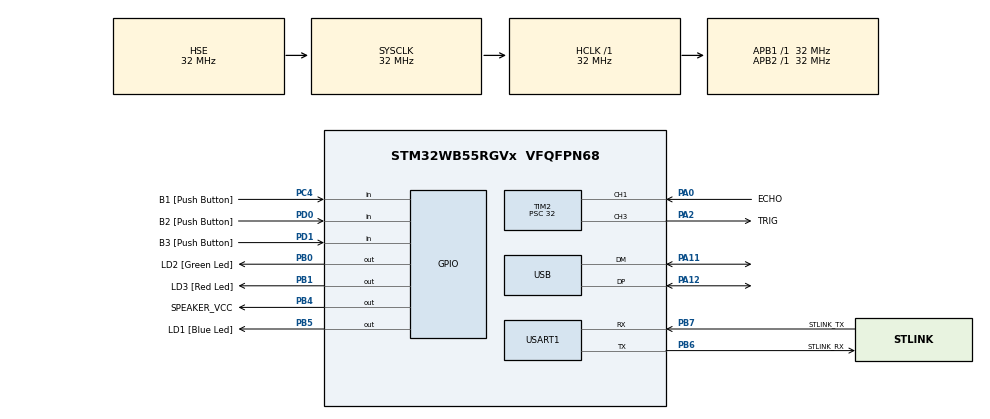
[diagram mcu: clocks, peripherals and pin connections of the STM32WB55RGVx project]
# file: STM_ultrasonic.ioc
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Mcu.Family=STM32WB
Mcu.Name=STM32WB55RGVx
Mcu.Package=VFQFPN68
NVIC.PriorityGroup=NVIC_PRIORITYGROUP_4
NVIC.TIM2_IRQn=true\:0\:0\:false\:false\:true\:true\:true\:true
OSC_IN.Mode=HSE-External-Oscillator
OSC_IN.Signal=RCC_OSC_IN
OSC_OUT.Mode=HSE-External-Oscillator
OSC_OUT.Signal=RCC_OSC_OUT
PA0.GPIO_Label=ECHO
PA0.Signal=S_TIM2_CH1
PA11.Mode=Device
PA11.Signal=USB_DM
PA12.Mode=Device
PA12.Signal=USB_DP
PA13.GPIO_Label=JTMS
PA13.Mode=Trace_Asynchronous_SW
PA13.Signal=SYS_JTMS-SWDIO
PA14.GPIO_Label=JTCK
PA14.Mode=Trace_Asynchronous_SW
PA14.Signal=SYS_JTCK-SWCLK
PA2.GPIO_Label=TRIG
PA2.Signal=S_TIM2_CH3
PB0.GPIO_Label=LD2 [Green Led]
PB0.Signal=GPIO_Output
PB1.GPIO_Label=LD3 [Red Led]
PB1.Signal=GPIO_Output
PB3.GPIO_Label=JTDO
PB3.Mode=Trace_Asynchronous_SW
PB3.Signal=SYS_JTDO-SWO
PB4.GPIO_Label=SPEAKER_VCC
PB4.Signal=GPIO_Output
PB5.GPIO_Label=LD1 [Blue Led]
PB5.Signal=GPIO_Output
PB6.GPIO_Label=STLINK_RX
PB6.GPIO_PuPd=GPIO_PULLUP
PB6.Mode=Asynchronous
PB6.Signal=USART1_TX
PB7.GPIO_Label=STLINK_TX
PB7.GPIO_PuPd=GPIO_PULLUP
PB7.Mode=Asynchronous
PB7.Signal=USART1_RX
PC13.Mode=SYS_WakeUp1
PC13.Signal=SYS_WKUP2
PC14-OSC32_IN.Mode=LSE-External-Oscillator
PC14-OSC32_IN.Signal=RCC_OSC32_IN
PC15-OSC32_OUT.Mode=LSE-External-Oscillator
PC15-OSC32_OUT.Signal=RCC_OSC32_OUT
PC4.GPIO_Label=B1 [Push Button]
PC4.Signal=GPIO_Input
PD0.GPIO_Label=B2 [Push Button]
PD0.Signal=GPIO_Input
PD1.GPIO_Label=B3 [Push Button]
PD1.Signal=GPIO_Input
ProjectManager.HeapSize=0x200
ProjectManager.StackSize=0x400
ProjectManager.TargetToolchain=STM32CubeIDE
RCC.ADCFreq_Value=48000000
RCC.AHBFreq_Value=32000000
RCC.APB1Freq_Value=32000000
RCC.APB1TimFreq_Value=32000000
RCC.APB2Freq_Value=32000000
RCC.APB2TimFreq_Value=32000000
RCC.APB3Freq_Value=16000000
RCC.CortexFreq_Value=32000000
RCC.HCLKFreq_Value=32000000
RCC.HSE_VALUE=32000000
RCC.HSI48_VALUE=48000000
RCC.HSI_VALUE=16000000
RCC.PLLN=32
RCC.PLLSAI1N=24
RCC.SMPSCLockSelectionVirtual=RCC_SMPSCLKSOURCE_HSI
RCC.SMPSCLockSelectionVirtualVirtual=RCC_SMPSCLKSOURCE_HSI
RCC.SMPSDivider=1
RCC.SYSCLKFreq_VALUE=32000000
RCC.SYSCLKSource=RCC_SYSCLKSOURCE_HSE
RCC.USBFreq_Value=48000000
RCC.VCOOutputFreq_Value=128000000
SH.S_TIM2_CH1.0=TIM2_CH1,Input_Capture1_from_TI1
SH.S_TIM2_CH1.1=TIM2_CH1,Input_Capture2_from_TI1
SH.S_TIM2_CH3.0=TIM2_CH3,PWM Generation3 CH3
TIM2.Channel-Input_Capture1_from_TI1=TIM_CHANNEL_1
TIM2.Channel-Input_Capture2_from_TI1=TIM_CHANNEL_2
TIM2.Channel-PWM\ Generation3\ CH3=TIM_CHANNEL_3
TIM2.ICPolarity_CH2=TIM_INPUTCHANNELPOLARITY_FALLING
TIM2.Period=50000
TIM2.Prescaler=32
TIM2.Pulse-PWM\ Generation3\ CH3=11
USART1.VirtualMode-Asynchronous=VM_ASYNC
USART1.WordLength=WORDLENGTH_7B
VP_TIM2_VS_ClockSourceINT.Mode=Internal
board=P-NUCLEO-WB55-Nucleo

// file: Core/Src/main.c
/* USER CODE BEGIN Header */
/**
  ******************************************************************************
  * @file           : main.c
  * @brief          : Main program body
  ******************************************************************************
  * @attention
  *
  * <h2><center>&copy; Copyright (c) 2022 STMicroelectronics.
  * All rights reserved.</center></h2>
  *
  * This software component is licensed by ST under BSD 3-Clause license,
  * the "License"; You may not use this file except in compliance with the
  * License. You may obtain a copy of the License at:
  *                        opensource.org/licenses/BSD-3-Clause
  *
  ******************************************************************************
  */
/* USER CODE END Header */
#include "main.h"

TIM_HandleTypeDef htim2;

UART_HandleTypeDef huart1;

PCD_HandleTypeDef hpcd_USB_FS;

/* USER CODE BEGIN PV */
static Meas_distance_T Meas_distance={
		.invalid_msg = false,
		.debounce_counter = 0,
		.distance = 0
};
static uint8_t counter = 0;
/* USER CODE END PV */

void SystemClock_Config(void);
static void MX_GPIO_Init(void);
static void MX_USART1_UART_Init(void);
static void MX_USB_PCD_Init(void);
static void MX_TIM2_Init(void);
/* USER CODE BEGIN PFP */
static void Send_Distance_UART(void);
/* USER CODE END PFP */

int main(void)
{

  /* MCU Configuration--------------------------------------------------------*/

  /* Reset of all peripherals, Initializes the Flash interface and the Systick. */
  HAL_Init();

  /* Configure the system clock */
  SystemClock_Config();

  /* Initialize all configured peripherals */
  MX_GPIO_Init();
  MX_USART1_UART_Init();
  MX_USB_PCD_Init();
  MX_TIM2_Init();
  /* USER CODE BEGIN 2 */

  /* Start Timer for HC-SR04 module */
  HAL_TIM_Base_Start(&htim2);
  HAL_TIM_PWM_Start(&htim2, HCSR04_PWM_CHANNEL);
  HAL_TIM_IC_Start(&htim2, HCSR04_START_CHANNEL);
  HAL_TIM_IC_Start_IT(&htim2, HCSR04_STOP_CHANNEL);
  /* USER CODE END 2 */

  /* Infinite loop */
  /* USER CODE BEGIN WHILE */
  while (1)
  {
	  if ((Meas_distance.debounce_counter < DEBOUNCE_CYCLES) && (Meas_distance.invalid_msg == false))
	  {
		  Meas_distance.debounce_counter++;
	  }
	  else
	  {
		  Meas_distance.invalid_msg = true;
		  Meas_distance.debounce_counter = 0;
	  }
    /* USER CODE END WHILE */

  }
}

void SystemClock_Config(void)
{
  RCC_OscInitTypeDef RCC_OscInitStruct = {0};
  RCC_ClkInitTypeDef RCC_ClkInitStruct = {0};
  RCC_PeriphCLKInitTypeDef PeriphClkInitStruct = {0};

  /** Macro to configure the PLL multiplication factor
  */
  __HAL_RCC_PLL_PLLM_CONFIG(RCC_PLLM_DIV1);
  /** Macro to configure the PLL clock source
  */
  __HAL_RCC_PLL_PLLSOURCE_CONFIG(RCC_PLLSOURCE_MSI);
  /** Configure LSE Drive Capability
  */
  HAL_PWR_EnableBkUpAccess();
  __HAL_RCC_LSEDRIVE_CONFIG(RCC_LSEDRIVE_LOW);
  /** Configure the main internal regulator output voltage
  */
  __HAL_PWR_VOLTAGESCALING_CONFIG(PWR_REGULATOR_VOLTAGE_SCALE1);
  /** Initializes the RCC Oscillators according to the specified parameters
  * in the RCC_OscInitTypeDef structure.
  */
  RCC_OscInitStruct.OscillatorType = RCC_OSCILLATORTYPE_HSI|RCC_OSCILLATORTYPE_HSE
                              |RCC_OSCILLATORTYPE_LSE|RCC_OSCILLATORTYPE_MSI;
  RCC_OscInitStruct.HSEState = RCC_HSE_ON;
  RCC_OscInitStruct.LSEState = RCC_LSE_ON;
  RCC_OscInitStruct.HSIState = RCC_HSI_ON;
  RCC_OscInitStruct.MSIState = RCC_MSI_ON;
  RCC_OscInitStruct.HSICalibrationValue = RCC_HSICALIBRATION_DEFAULT;
  RCC_OscInitStruct.MSICalibrationValue = RCC_MSICALIBRATION_DEFAULT;
  RCC_OscInitStruct.MSIClockRange = RCC_MSIRANGE_6;
  RCC_OscInitStruct.PLL.PLLState = RCC_PLL_NONE;
  if (HAL_RCC_OscConfig(&RCC_OscInitStruct) != HAL_OK)
  {
    Error_Handler();
  }
  /** Configure the SYSCLKSource, HCLK, PCLK1 and PCLK2 clocks dividers
  */
  RCC_ClkInitStruct.ClockType = RCC_CLOCKTYPE_HCLK4|RCC_CLOCKTYPE_HCLK2
                              |RCC_CLOCKTYPE_HCLK|RCC_CLOCKTYPE_SYSCLK
                              |RCC_CLOCKTYPE_PCLK1|RCC_CLOCKTYPE_PCLK2;
  RCC_ClkInitStruct.SYSCLKSource = RCC_SYSCLKSOURCE_HSE;
  RCC_ClkInitStruct.AHBCLKDivider = RCC_SYSCLK_DIV1;
  RCC_ClkInitStruct.APB1CLKDivider = RCC_HCLK_DIV1;
  RCC_ClkInitStruct.APB2CLKDivider = RCC_HCLK_DIV1;
  RCC_ClkInitStruct.AHBCLK2Divider = RCC_SYSCLK_DIV1;
  RCC_ClkInitStruct.AHBCLK4Divider = RCC_SYSCLK_DIV1;

  if (HAL_RCC_ClockConfig(&RCC_ClkInitStruct, FLASH_LATENCY_1) != HAL_OK)
  {
    Error_Handler();
  }
  /** Initializes the peripherals clocks
  */
  PeriphClkInitStruct.PeriphClockSelection = RCC_PERIPHCLK_SMPS|RCC_PERIPHCLK_USART1
                              |RCC_PERIPHCLK_USB;
  PeriphClkInitStruct.PLLSAI1.PLLN = 24;
  PeriphClkInitStruct.PLLSAI1.PLLP = RCC_PLLP_DIV2;
  PeriphClkInitStruct.PLLSAI1.PLLQ = RCC_PLLQ_DIV2;
  PeriphClkInitStruct.PLLSAI1.PLLR = RCC_PLLR_DIV2;
  PeriphClkInitStruct.PLLSAI1.PLLSAI1ClockOut = RCC_PLLSAI1_USBCLK;
  PeriphClkInitStruct.Usart1ClockSelection = RCC_USART1CLKSOURCE_PCLK2;
  PeriphClkInitStruct.UsbClockSelection = RCC_USBCLKSOURCE_PLLSAI1;
  PeriphClkInitStruct.SmpsClockSelection = RCC_SMPSCLKSOURCE_HSI;
  PeriphClkInitStruct.SmpsDivSelection = RCC_SMPSCLKDIV_RANGE0;
  if (HAL_RCCEx_PeriphCLKConfig(&PeriphClkInitStruct) != HAL_OK)
  {
    Error_Handler();
  }
  /** Enable MSI Auto calibration
  */
  HAL_RCCEx_EnableMSIPLLMode();
}

static void MX_TIM2_Init(void)
{

  TIM_ClockConfigTypeDef sClockSourceConfig = {0};
  TIM_MasterConfigTypeDef sMasterConfig = {0};
  TIM_IC_InitTypeDef sConfigIC = {0};
  TIM_OC_InitTypeDef sConfigOC = {0};

  htim2.Instance = TIM2;
  htim2.Init.Prescaler = 32;
  htim2.Init.CounterMode = TIM_COUNTERMODE_UP;
  htim2.Init.Period = 50000;
  htim2.Init.ClockDivision = TIM_CLOCKDIVISION_DIV1;
  htim2.Init.AutoReloadPreload = TIM_AUTORELOAD_PRELOAD_DISABLE;
  if (HAL_TIM_Base_Init(&htim2) != HAL_OK)
  {
    Error_Handler();
  }
  sClockSourceConfig.ClockSource = TIM_CLOCKSOURCE_INTERNAL;
  if (HAL_TIM_ConfigClockSource(&htim2, &sClockSourceConfig) != HAL_OK)
  {
    Error_Handler();
  }
  if (HAL_TIM_IC_Init(&htim2) != HAL_OK)
  {
    Error_Handler();
  }
  if (HAL_TIM_PWM_Init(&htim2) != HAL_OK)
  {
    Error_Handler();
  }
  sMasterConfig.MasterOutputTrigger = TIM_TRGO_RESET;
  sMasterConfig.MasterSlaveMode = TIM_MASTERSLAVEMODE_DISABLE;
  if (HAL_TIMEx_MasterConfigSynchronization(&htim2, &sMasterConfig) != HAL_OK)
  {
    Error_Handler();
  }
  sConfigIC.ICPolarity = TIM_INPUTCHANNELPOLARITY_RISING;
  sConfigIC.ICSelection = TIM_ICSELECTION_DIRECTTI;
  sConfigIC.ICPrescaler = TIM_ICPSC_DIV1;
  sConfigIC.ICFilter = 0;
  if (HAL_TIM_IC_ConfigChannel(&htim2, &sConfigIC, TIM_CHANNEL_1) != HAL_OK)
  {
    Error_Handler();
  }
  sConfigIC.ICPolarity = TIM_INPUTCHANNELPOLARITY_FALLING;
  sConfigIC.ICSelection = TIM_ICSELECTION_INDIRECTTI;
  if (HAL_TIM_IC_ConfigChannel(&htim2, &sConfigIC, TIM_CHANNEL_2) != HAL_OK)
  {
    Error_Handler();
  }
  sConfigOC.OCMode = TIM_OCMODE_PWM1;
  sConfigOC.Pulse = 11;
  sConfigOC.OCPolarity = TIM_OCPOLARITY_HIGH;
  sConfigOC.OCFastMode = TIM_OCFAST_DISABLE;
  if (HAL_TIM_PWM_ConfigChannel(&htim2, &sConfigOC, TIM_CHANNEL_3) != HAL_OK)
  {
    Error_Handler();
  }
  HAL_TIM_MspPostInit(&htim2);

}

static void MX_USART1_UART_Init(void)
{

  huart1.Instance = USART1;
  huart1.Init.BaudRate = 115200;
  huart1.Init.WordLength = UART_WORDLENGTH_7B;
  huart1.Init.StopBits = UART_STOPBITS_1;
  huart1.Init.Parity = UART_PARITY_NONE;
  huart1.Init.Mode = UART_MODE_TX_RX;
  huart1.Init.HwFlowCtl = UART_HWCONTROL_NONE;
  huart1.Init.OverSampling = UART_OVERSAMPLING_16;
  huart1.Init.OneBitSampling = UART_ONE_BIT_SAMPLE_DISABLE;
  huart1.Init.ClockPrescaler = UART_PRESCALER_DIV1;
  huart1.AdvancedInit.AdvFeatureInit = UART_ADVFEATURE_NO_INIT;
  if (HAL_UART_Init(&huart1) != HAL_OK)
  {
    Error_Handler();
  }
  if (HAL_UARTEx_SetTxFifoThreshold(&huart1, UART_TXFIFO_THRESHOLD_1_8) != HAL_OK)
  {
    Error_Handler();
  }
  if (HAL_UARTEx_SetRxFifoThreshold(&huart1, UART_RXFIFO_THRESHOLD_1_8) != HAL_OK)
  {
    Error_Handler();
  }
  if (HAL_UARTEx_DisableFifoMode(&huart1) != HAL_OK)
  {
    Error_Handler();
  }

}

static void MX_USB_PCD_Init(void)
{

  hpcd_USB_FS.Instance = USB;
  hpcd_USB_FS.Init.dev_endpoints = 8;
  hpcd_USB_FS.Init.speed = PCD_SPEED_FULL;
  hpcd_USB_FS.Init.phy_itface = PCD_PHY_EMBEDDED;
  hpcd_USB_FS.Init.Sof_enable = DISABLE;
  hpcd_USB_FS.Init.low_power_enable = DISABLE;
  hpcd_USB_FS.Init.lpm_enable = DISABLE;
  hpcd_USB_FS.Init.battery_charging_enable = DISABLE;
  if (HAL_PCD_Init(&hpcd_USB_FS) != HAL_OK)
  {
    Error_Handler();
  }

}

static void MX_GPIO_Init(void)
{
  GPIO_InitTypeDef GPIO_InitStruct = {0};

  /* GPIO Ports Clock Enable */
  __HAL_RCC_GPIOC_CLK_ENABLE();
  __HAL_RCC_GPIOA_CLK_ENABLE();
  __HAL_RCC_GPIOB_CLK_ENABLE();
  __HAL_RCC_GPIOD_CLK_ENABLE();

  /*Configure GPIO pin Output Level */
  HAL_GPIO_WritePin(GPIOB, LD2_Pin|LD3_Pin|SPEAKER_VCC_Pin|LD1_Pin, GPIO_PIN_RESET);

  /*Configure GPIO pin : B1_Pin */
  GPIO_InitStruct.Pin = B1_Pin;
  GPIO_InitStruct.Mode = GPIO_MODE_INPUT;
  GPIO_InitStruct.Pull = GPIO_NOPULL;
  HAL_GPIO_Init(B1_GPIO_Port, &GPIO_InitStruct);

  /*Configure GPIO pins : LD2_Pin LD3_Pin SPEAKER_VCC_Pin LD1_Pin */
  GPIO_InitStruct.Pin = LD2_Pin|LD3_Pin|SPEAKER_VCC_Pin|LD1_Pin;
  GPIO_InitStruct.Mode = GPIO_MODE_OUTPUT_PP;
  GPIO_InitStruct.Pull = GPIO_NOPULL;
  GPIO_InitStruct.Speed = GPIO_SPEED_FREQ_LOW;
  HAL_GPIO_Init(GPIOB, &GPIO_InitStruct);

  /*Configure GPIO pins : B2_Pin B3_Pin */
  GPIO_InitStruct.Pin = B2_Pin|B3_Pin;
  GPIO_InitStruct.Mode = GPIO_MODE_INPUT;
  GPIO_InitStruct.Pull = GPIO_NOPULL;
  HAL_GPIO_Init(GPIOD, &GPIO_InitStruct);

}

/* USER CODE BEGIN 4 */
void HAL_TIM_IC_CaptureCallback(TIM_HandleTypeDef *htim)
{
  if (htim->Instance == TIM2)
  {
    uint16_t time = (uint16_t)((uint16_t)__HAL_TIM_GetCompare(&htim2, HCSR04_STOP_CHANNEL) - (uint16_t)__HAL_TIM_GetCompare(&htim2, HCSR04_START_CHANNEL));
    Meas_distance.distance = Average_Distance((dist)time /(2.0 * SOUND_SPEED));
    Reset_Counter(&Meas_distance);
    HAL_TIM_IC_Start_IT(&htim2, HCSR04_STOP_CHANNEL);
    counter++;

	if (counter > NUMBER_OF_SAMPLES)
	{
	  Send_Distance_UART();
	  counter = 0;
	}
  }
}

dist Get_Distance(void)
{
	return (Meas_distance.distance);
}

static void Send_Distance_UART(void)
{
	float distance = Get_Distance();

	char uart_buf[23];
	sprintf(uart_buf, "Distance: %.1f [cm]\r\n", (distance));
	HAL_UART_Transmit(&huart1, (uint8_t *)uart_buf, strlen(uart_buf), 100);

	if (distance < 50)
	{
		HAL_GPIO_WritePin(SPEAKER_VCC_GPIO_Port, SPEAKER_VCC_Pin, GPIO_PIN_SET);
	}
	else
	{
		HAL_GPIO_WritePin(SPEAKER_VCC_GPIO_Port, SPEAKER_VCC_Pin, GPIO_PIN_RESET);
	}
}
/* USER CODE END 4 */

void Error_Handler(void)
{
  __disable_irq();
  while (1)
  {
  }
}

/************************ (C) COPYRIGHT STMicroelectronics *****END OF FILE****/
